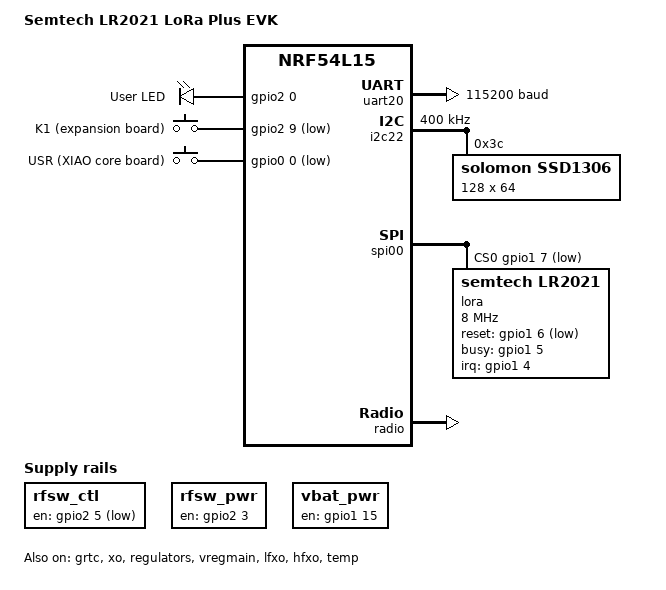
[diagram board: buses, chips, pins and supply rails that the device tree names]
/*
 * Semtech LR2021 LoRa Plus Evaluation Kit (Seeed SKU 100039980)
 * Copyright (c) 2026 ZephCore
 * SPDX-License-Identifier: MIT
 *
 * Three boards in a XIAO-socket sandwich, not one board:
 *
 *   Seeed XIAO nRF54L15          — the MCU
 *   LoRa Plus Expansion Board V2a — OLED, buttons, Grove, SMA, SWD, USB-C
 *   Wio-LR2021 module            — LR2021WIO1XDCS, 868/915 MHz, switchless
 *
 * Both modules plug into the same expansion board and share ONE set of D0..D10
 * nets. There is no bus mux: whatever the MCU drives on D0..D10 reaches the
 * radio module directly.
 *
 * Verified 2026-09-12 against primary sources, all kept in
 * devdocs/seeed_lr2021_evk/ — the Wio-LR2021 module schematic (e769v02a), the
 * expansion board schematic (e758v03a), the XIAO nRF54L15 schematic, and Seeed's
 * wiki pin table. Every control-pin assignment below is independently confirmed
 * by Semtech's own devicetree for this kit (github.com/Lora-net/usp_zephyr,
 * boards/shields/semtech_wio_lr20xx/), saved alongside those.
 *
 * XIAO connector map (Seeed wiki table / Zephyr seeed_xiao_connector.dtsi):
 *   D0  P1.04  LR2021 IRQ (chip DIO8)   D8  P2.01  SPI SCK  (spi00)
 *   D1  P1.05  LR2021 BUSY              D9  P2.04  SPI MISO (spi00)
 *   D2  P1.06  LR2021 NRESET            D10 P2.02  SPI MOSI (spi00)
 *   D3  P1.07  LR2021 NSS
 *   D4  P1.10  I2C SDA (i2c22) — OLED + 2x Grove
 *   D5  P1.11  I2C SCL (i2c22) — OLED + 2x Grove
 *   D6  P2.08  LR2021 DIO7  / uart21 TX / Grove UART   (see the note at uart21)
 *   D7  P2.07  LR2021 DIO11 / uart21 RX / Grove UART
 *   D14 P2.09  K1 user button on the expansion board
 *
 * Hardware prerequisites, both easy to miss and both present as "the firmware
 * does not work":
 *   - The IDCC 2-pin header carries SYS_3V3 to the radio module. Open jumper =
 *     the LR2021 has no power and probes as a dead chip. A shunt (or an ammeter)
 *     must be fitted.
 *   - The module terminates in U.FL; the SMA connectors are on the expansion
 *     board. Both are joined by pigtails the user fits. Do NOT transmit with the
 *     LF pigtail missing — +22 dBm into an open is a PA-damage risk, not just
 *     poor range.
 *
 * Flashing: the nRF54L15 has no USB peripheral, so there is no UF2 and no DFU.
 * The expansion board's USB-C goes to a SAMD11 presenting CMSIS-DAP for SWD
 * flashing plus a USB CDC for the uart20 console. Published artifact is
 * zephyr.hex, which links at RRAM base 0x0.
 */

/dts-v1/;
#include <nordic/nrf54l15_cpuapp.dtsi>
#include "seeed_lr2021_evk-pinctrl.dtsi"
#include <zephyr/dt-bindings/input/input-event-codes.h>

/ {
	model = "Semtech LR2021 LoRa Plus EVK";
	compatible = "seeed,lr2021-evk";

	chosen {
		zephyr,sram = &cpuapp_sram;
		zephyr,flash = &cpuapp_rram;
		zephyr,flash-controller = &rram_controller;
		zephyr,console = &uart20;
		zephyr,shell-uart = &uart20;
		zephyr,display = &ssd1306;
		/*
		 * Deliberately no zephyr,code-partition: there is no bootloader
		 * on this kit, so the image links at RRAM base 0x0 and the ROM
		 * starts it directly. Same choice as me25ls02, the other
		 * bootloader-less nRF54L15 board here.
		 */
	};

	aliases {
		lora0 = &lora;
		led0 = &user_led;
		sw0 = &user_button;
	};

	leds {
		compatible = "gpio-leds";

		/* On the XIAO core board itself, not the expansion board. */
		user_led: led_0 {
			gpios = <&gpio2 0 GPIO_ACTIVE_HIGH>;
			label = "User LED";
		};
	};

	buttons: buttons {
		compatible = "gpio-keys";

		/*
		 * POLLED, not interrupt-driven, and this is forced by the SoC.
		 *
		 * On the nRF54L15 only P0 and P1 have a GPIOTE instance behind
		 * them — `nrf54l_05_10_15.dtsi` gives gpio0 `gpiote30` and gpio1
		 * `gpiote20`, and gpio2 gets nothing. The nRF GPIO driver turns
		 * that into a hard refusal: `gpio_nrfx_pin_interrupt_configure()`
		 * opens with `if (!use_gpiote(cfg)) return -ENOTSUP;`. So no pin
		 * on P2 can raise a GPIO interrupt, `gpio_keys_init()` fails on
		 * it, and the button is simply dead.
		 *
		 * K1 is hardwired to D14 = P2.09 on the expansion board (the XIAO
		 * schematic labels the pin "P2.09/D14"), so it cannot be moved.
		 * Polling is the only way to use it, and `debounce-interval-ms`
		 * doubles as the poll period in this mode. 30 ms costs ~33 short
		 * wakes a second — nothing beside continuous LoRa RX — and sits
		 * far inside the 400 ms multi-tap window and 1 s long-press hold.
		 *
		 * Cost us the first bring-up: display worked, buttons did not.
		 *
		 * Nothing else on this board is affected. The LR2021 IRQ is on
		 * P1.04 (gpiote20, and proven working), and the other P2 pins here
		 * are either outputs (LED P2.00, rfsw P2.03/P2.05) or owned by
		 * pinctrl (spi00 on P2.01/02/04) — none of which need GPIOTE.
		 *
		 * Both buttons live in this one node, so both are polled. That
		 * costs nothing extra — the driver walks every key from a single
		 * work item — and it keeps one `input` phandle for the long-press
		 * filter below, which takes exactly one.
		 */
		polling-mode;
		debounce-interval-ms = <30>;

		/*
		 * K1 on the expansion board: a bare TS-1111A between P2.09 and
		 * GND, no external pull-up and no hardware debounce, so the
		 * internal pull-up is required.
		 *
		 * Both ends of this net are confirmed against the schematics —
		 * expansion board socket pin 25 carries K1_USER_PB and is
		 * labelled D14, and the XIAO's test-point table on sheet 5 reads
		 * "D14 TP16 -> P2.09". But note HOW it gets there: D11..D15 are
		 * not part of the XIAO's soldered castellation. They reach the
		 * core board through test pads that the expansion board touches
		 * with pogo pins ("2x 1x4 Pogo Pins" on the schematic). That is a
		 * contact interface, and a XIAO that is not fully seated reads
		 * exactly like a button nobody is pressing: the internal pull-up
		 * holds the pin high forever.
		 */
		user_button: button_0 {
			gpios = <&gpio2 9 (GPIO_PULL_UP | GPIO_ACTIVE_LOW)>;
			zephyr,code = <INPUT_KEY_0>;
			label = "K1 (expansion board)";
		};

		/*
		 * The XIAO core board's own USR button, P0.00 — a normally
		 * soldered part with no pogo-pin interface in the way, which
		 * makes it the one that works regardless of how the stack is
		 * seated. Same key code as K1, so either drives the UI and the
		 * user never has to care which they pressed.
		 *
		 * It sits on gpio0/gpiote30 and so could be interrupt-driven,
		 * but polling-mode is a property of the whole gpio-keys node.
		 * Splitting it into a second node to save 33 short wakes a second
		 * would also need a second long-press filter, which is not worth
		 * it next to continuous LoRa RX.
		 */
		xiao_button: button_1 {
			gpios = <&gpio0 0 (GPIO_PULL_UP | GPIO_ACTIVE_LOW)>;
			zephyr,code = <INPUT_KEY_0>;
			label = "USR (XIAO core board)";
		};
	};

	/* Button chain — same mapping as RAK4631 (rak4631/board.overlay). */
	user_btn_longpress {
		compatible = "zephyr,input-longpress";
		input = <&buttons>;
		input-codes = <INPUT_KEY_0>;
		short-codes = <INPUT_KEY_A>;
		long-codes = <INPUT_KEY_ENTER>;
		long-delay-ms = <1000>;
	};

	page_btn_multitap {
		compatible = "zephcore,input-multi-tap";
		input-codes = <INPUT_KEY_A>;
		tap-codes = <INPUT_KEY_1 INPUT_KEY_LEFT>;
		tap-delay-ms = <400>;
	};

	/*
	 * XIAO 2.4 GHz antenna switch. P2.05 (RF_SW_CTL) and P2.03 (RF_SW_PWR)
	 * gate the switch between the on-board chip antenna and the U.FL, per the
	 * XIAO schematic. Both are boot-on regulators exactly as upstream Zephyr
	 * declares them — drop either and the SoC's own BLE radio comes up deaf.
	 * Nothing to do with the LR2021, which has its own separate front end.
	 */
	rfsw_ctl: rfsw-ctl {
		compatible = "regulator-fixed";
		regulator-name = "rfsw-ctl";
		enable-gpios = <&gpio2 5 GPIO_ACTIVE_LOW>;
		regulator-boot-on;
	};

	rfsw_pwr: rfsw-pwr {
		compatible = "regulator-fixed";
		regulator-name = "rfsw-pwr";
		enable-gpios = <&gpio2 3 GPIO_ACTIVE_HIGH>;
		regulator-boot-on;
	};

	/*
	 * Battery sense rail enable (P1.15), gating the 2:1 divider on P1.14/AIN7.
	 * Declared so the rail is powered, but the ADC channel is NOT enabled —
	 * see the block at the bottom of this file for why.
	 */
	vbat_pwr: vbat-pwr {
		compatible = "regulator-fixed";
		regulator-name = "vbat";
		enable-gpios = <&gpio1 15 GPIO_ACTIVE_HIGH>;
		regulator-boot-on;
	};
};

&cpuapp_sram {
	status = "okay";
};

&grtc {
	owned-channels = <0 1 2 3 4 5 6 7 8 9 10 11>;
	/* Channels 7-11 reserved for Zero Latency IRQs, 3-4 for FLPR */
	child-owned-channels = <3 4 7 8 9 10 11>;
	status = "okay";
};

&clock {
	status = "okay";
};

/* Zephyr main (4.5) split the nRF clock driver per clock; each one the
 * application uses must be enabled or it is not built (the BT controller fails
 * to compile without lfclk). Same set as upstream's nrf54l15dk. LFCLK keeps the
 * binding's default source, the crystal (&lfxo below). */
&xo {
	status = "okay";
};

&lfclk {
	status = "okay";
};

/* Console: P1.09 TX / P1.08 RX -> SAMD11 CMSIS-DAP bridge -> USB CDC */
&uart20 {
	status = "okay";
	current-speed = <115200>;
	pinctrl-0 = <&uart20_default>;
	pinctrl-1 = <&uart20_sleep>;
	pinctrl-names = "default", "sleep";
};

/*
 * uart21 (D6/D7) stays disabled, and this is not just tidiness.
 *
 * A6_D6_TX and A7_D7_RX are simultaneously the nRF54L15's uart21, the Grove
 * UART connector J6, SWD header pins 7/8, AND — through the Wio-LR2021
 * castellation — the radio's DIO7 and DIO11. Driving them as a UART toggles two
 * of the LR2021's DIOs. We configure neither DIO for anything (DIO8 is the IRQ,
 * and the front end is switchless so no DIO drives an RF switch), so it is very
 * likely harmless, but the coupling is real and Semtech's own sample overlay
 * disables this UART too. If a Grove UART peripheral is ever wanted here, that
 * needs bench verification, not reasoning.
 */
&uart21 {
	status = "disabled";
};

/*
 * i2c22 = D4/D5. Free for the OLED and the two I2C Grove ports because the
 * Wio-LR2021 module leaves its pins 5/6 (SDA/SCL) unconnected — see the
 * castellation table in devdocs/seeed_lr2021_evk/HARDWARE.md.
 *
 * Note this is the opposite of boards/nrf54l/xiao_nrf54l15, where the same bus
 * is disabled because that carrier puts the SX1262's NSS and RXEN on D4/D5.
 */
&i2c22 {
	status = "okay";
	pinctrl-0 = <&i2c22_default>;
	pinctrl-1 = <&i2c22_sleep>;
	pinctrl-names = "default", "sleep";
	clock-frequency = <400000>;

	/*
	 * Mandatory for the SSD1306, not an optimisation.
	 *
	 * The display driver flushes the framebuffer with i2c_burst_write_dt():
	 * a 1-byte control message and the 1024-byte framebuffer, with no STOP
	 * between them. TWIM is EasyDMA and needs one contiguous buffer, so the
	 * driver copies both into the concat buffer — which defaults to 16 bytes
	 * (nordic,nrf-twim.yaml). Every flush then fails with
	 *   "Need to use the internal driver buffer but its size is insufficient
	 *    (1 + 1024 > 16)"
	 * and the panel stays dark even though it ACKed its whole init sequence.
	 * That is exactly what happened on the first hardware bring-up, 2026-09-12.
	 * The binding says as much: this property "must be provided when
	 * interacting with devices like the SSD1306 display".
	 *
	 * 1088 = 1 + 1024, rounded up. Semtech's shield overlay and Zephyr's own
	 * ssd1306 shield both use 4096, but this is a static RAM buffer and the
	 * companion build already sits near 88% of RAM, so it is sized to the
	 * largest transfer this bus can actually carry: nothing else lives on
	 * i2c22 but the panel and the (unpopulated) Grove ports.
	 *
	 * Boards driving an SSD1306 over "nordic,nrf-twi" — the legacy non-DMA
	 * driver, which is what rak4631 and gat562_30s use — do not need this.
	 * Boards on "nordic,nrf-twim" do, sized to their own panel:
	 * lilygo_timpulse_plus sets 257 for its 64x32 (1 + 256).
	 */
	zephyr,concat-buf-size = <1088>;

	/*
	 * ZJY-2864KSWPG01, an SSD1306-class 128x64 panel strapped for IIC.
	 *
	 * Address: JP1 on the expansion board selects it via the panel's D/C pin
	 * (R24 4.7K to GND / R26 0R / R25 4.7K to VDD). 0x3C is the default
	 * strap and what Semtech's own overlay uses; 0x3D is the jumpered
	 * alternative. If the display stays blank, probe the bus before
	 * suspecting anything else.
	 *
	 * No reset-gpios: /RES is an RC power-on reset on the expansion board
	 * (R21 4.7K to VDD, C7 10uF to GND, D2 1N4148 discharge), not an MCU pin.
	 *
	 * Panel settings mirror Semtech's shield overlay for this exact kit.
	 */
	ssd1306: ssd1306@3c {
		compatible = "solomon,ssd1306";
		reg = <0x3c>;
		width = <128>;
		height = <64>;
		segment-offset = <0>;
		page-offset = <0>;
		display-offset = <0>;
		multiplex-ratio = <63>;
		segment-remap;
		com-invdir;
		inversion-on;
		prechargep = <0x22>;
	};
};

/* i2c30 (D11/D12) reaches only the Arduino headers, and the XIAO's own IMU,
 * which ZephCore does not use. Left off to save the bus and its power. */
&i2c30 {
	status = "disabled";
};

&spi00 {
	status = "okay";
	cs-gpios = <&gpio1 7 GPIO_ACTIVE_LOW>;	/* D3 = P1.07 NSS */
	pinctrl-0 = <&spi00_default>;
	pinctrl-1 = <&spi00_sleep>;
	pinctrl-names = "default", "sleep";

	/*
	 * Nordic's 0xFF idle byte is read by the LR2021 as a bogus opcode, so the
	 * bus must idle at the chip's NOP. Both promicro_lr2021 and Semtech's own
	 * shield overlay do this; it is not optional.
	 */
	overrun-character = <0x00>;

	/*
	 * SoC default rx-delay is kept. xiao_nrf54l15 — the same MCU board, same
	 * spi00, 8 MHz — keeps it and works; me25ls02 deletes it because
	 * MinewSemi's sample does. Neither has been A/B'd on hardware, so each
	 * board keeps its own known-good configuration rather than guessing.
	 */

	lora: lora@0 {
		compatible = "semtech,lr2021";
		reg = <0>;
		/*
		 * 8 MHz, matching meshtracker_x1 and promicro_lr2021. Semtech's
		 * shield runs this module at 16 MHz — worth trying later as its
		 * own change, once the link is known good at 8.
		 */
		spi-max-frequency = <8000000>;

		reset-gpios = <&gpio1 6 GPIO_ACTIVE_LOW>;			/* D2 = P1.06 */
		busy-gpios = <&gpio1 5 GPIO_ACTIVE_HIGH>;			/* D1 = P1.05 */
		irq-gpios = <&gpio1 4 (GPIO_PULL_DOWN | GPIO_ACTIVE_HIGH)>;	/* D0 = P1.04 */
		irq-dio = <8>;	/* chip DIO8 -> module pin 1 -> D0 */

		/*
		 * NO TCXO. The module schematic shows crystal Q1, 32 MHz, across
		 * XTA/XTB, and the chip's dual-function VTCXO/VNTC pin is wired
		 * as the NTC thermistor input (R3 + ERT-JZER104F), not as a TCXO
		 * supply. So tcxo-voltage stays at its default of 0.
		 *
		 * Semtech's own shield overlay declares a 1.8 V TCXO here, which
		 * contradicts their schematic. The schematic wins. This is worth
		 * being firm about: declaring a TCXO on a module that has none
		 * WEDGED the chip on promicro_lr2021 — HF-XOSC startup hang, BUSY
		 * stuck, BLE never came up.
		 */

		rx-boosted;

		/*
		 * Switchless dual-band front end: RFO_LF and RFO_HF each drive
		 * their own fixed matching network straight to their own U.FL.
		 * There is no antenna switch and no DIO driving one, so every
		 * rfsw-* mask stays at its default of 0 — same as
		 * meshtracker_x1. ANT_LF is the sub-GHz SMA; the HF/2.4 GHz path
		 * is simply unused by MeshCore.
		 */
	};
};

&gpio0 {
	status = "okay";
};

&gpio1 {
	status = "okay";
};

&gpio2 {
	status = "okay";
};

/* P1.x and P2.x — the LR2021 IRQ (P1.04) and the K1 button (P2.09). */
&gpiote20 {
	status = "okay";
};

&gpiote30 {
	status = "okay";
};

&regulators {
	status = "okay";
};

&vregmain {
	status = "okay";
	regulator-initial-mode = <NRF5X_REG_MODE_DCDC>;
};

/*
 * The XIAO fits its own 32 MHz and 32.768 kHz crystals and uses the SoC's
 * internal load capacitors for both. Values copied verbatim from upstream
 * Zephyr's xiao_nrf54l15 DTS.
 *
 * LFXO being real is the notable difference from me25ls02, which has no
 * 32.768 kHz crystal and runs the calibrated RC at +/-250 ppm. This board gets
 * crystal accuracy, so it is the better of the two for anything timing-sensitive.
 *
 * Unrelated, and worth not confusing: the Wio-LR2021 module has no 32 kHz
 * crystal of its own, so the LR2021's internal LF clock is RC. We never use the
 * chip's LF timer, so that does not matter here — but it is the reason not to
 * copy an LF-XOSC setting onto the radio node from another board.
 */
&lfxo {
	load-capacitors = "internal";
	load-capacitance-femtofarad = <16000>;
	status = "okay";
};

&hfxo {
	load-capacitors = "internal";
	load-capacitance-femtofarad = <16000>;
	status = "okay";
};

&radio {
	status = "okay";
};

&temp {
	status = "okay";
};

/* Default Nordic RRAM map, then re-carved below for ZephCore. */
#include <vendor/nordic/nrf54l15_cpuapp_partition.dtsi>

/*
 * RRAM layout (1524 KB total, 0x17D000).
 *
 * No bootloader: the application starts at 0x0 and the linker is given the
 * whole RRAM, so slot0/slot1 are meaningless here and are deleted to keep
 * anyone from assuming a DFU layout that does not exist. Layout matches
 * me25ls02, the other bootloader-less nRF54L15 board.
 *
 *   0x000000 - 0x14E000  (1336 KB)  application (links from 0x0)
 *   0x14E000 - 0x165000  (92 KB)    LittleFS: identity, prefs, contacts,
 *                                   channels, BLE bonds
 *   0x165000 - 0x17D000  (96 KB)    unused tail
 */
/delete-node/ &slot0_partition;
/delete-node/ &slot1_partition;
/delete-node/ &storage_partition;

&cpuapp_rram {
	partitions {
		lfs_partition: partition@14e000 {
			compatible = "zephyr,mapped-partition";
			label = "lfs";
			reg = <0x14E000 0x17000>;
		};
	};
};

/* LittleFS auto-mount — standard /lfs mount point */
#include "../../common/filesystem.dtsi"

/*
 * Battery voltage — NOT enabled, deliberately. Same reasoning as
 * boards/nrf54l/xiao_nrf54l15/board.overlay, which shares this hardware.
 *
 * The divider is there (2:1 into P1.14/AIN7, gated by vbat_pwr above), but
 * ZephyrBoard computes `mV = raw * vbat-mv-multiplier / 4096`, so the multiplier
 * has to encode the ADC's full-scale voltage — and the nRF54L15 SAADC is not the
 * nRF52 part we have that number for. Its internal reference is 0.9 V, not
 * 0.6 V, and DS v1.0 section 8.18.7 states the single-ended range as
 * "+/- 0.5*VREF/GAIN" while the saturation condition two lines later implies a
 * full span of VREF/GAIN. Those two readings differ by a factor of two, and
 * getting it wrong by 2x means a healthy pack reports as flat.
 *
 * To finish this: enable the block below on a board with a known cell voltage,
 * read `raw`, and solve for the multiplier. With gain 1/4 and the 0.9 V
 * reference the full scale is either 3.6 V (multiplier 7200 for the 2:1
 * divider) or 1.8 V (multiplier 3600). One measurement settles it — and it
 * settles it for the XIAO board too.
 *
 *	&adc {
 *		status = "okay";
 *
 *		#address-cells = <1>;
 *		#size-cells = <0>;
 *
 *		channel@7 {
 *			reg = <7>;
 *			zephyr,gain = "ADC_GAIN_1_4";
 *			zephyr,reference = "ADC_REF_INTERNAL";
 *			zephyr,acquisition-time = <ADC_ACQ_TIME_DEFAULT>;
 *			zephyr,input-positive = <NRF_SAADC_AIN7>;
 *			zephyr,resolution = <12>;
 *		};
 *	};
 *
 *	/ {
 *		zephyr,user {
 *			io-channels = <&adc 7>;
 *			vbat-mv-multiplier = <7200>;
 *		};
 *	};
 */
